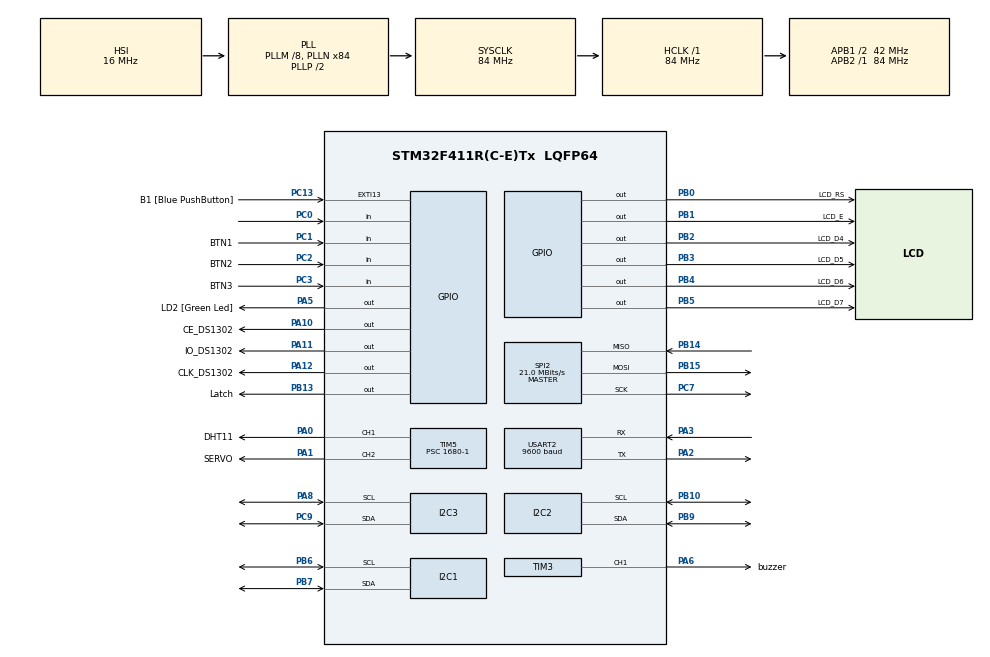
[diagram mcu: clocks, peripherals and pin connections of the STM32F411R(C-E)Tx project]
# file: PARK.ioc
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FREERTOS.Tasks01=defaultTask,24,128,StartDefaultTask,Default,NULL,Dynamic,NULL,NULL;myTask02,8,128,StartTask02,Default,NULL,Dynamic,NULL,NULL;myTask03,8,128,StartTask03,Default,NULL,Dynamic,NULL,NULL
FREERTOS.configUSE_NEWLIB_REENTRANT=1
Mcu.Family=STM32F4
Mcu.Name=STM32F411R(C-E)Tx
Mcu.Package=LQFP64
NVIC.PriorityGroup=NVIC_PRIORITYGROUP_4
NVIC.TIM1_TRG_COM_TIM11_IRQn=true\:5\:0\:false\:false\:true\:true\:true\:true
NVIC.TIM1_UP_TIM10_IRQn=true\:15\:0\:false\:false\:true\:false\:false\:true
NVIC.TIM3_IRQn=true\:5\:0\:false\:false\:true\:true\:true\:true
NVIC.TimeBase=TIM1_UP_TIM10_IRQn
NVIC.TimeBaseIP=TIM10
NVIC.USART2_IRQn=true\:5\:0\:false\:false\:true\:true\:true\:true
PA0-WKUP.GPIO_Label=DHT11
PA0-WKUP.Signal=S_TIM5_CH1
PA1.GPIO_Label=SERVO
PA1.Signal=S_TIM5_CH2
PA10.GPIO_Label=CE_DS1302
PA10.Signal=GPIO_Output
PA11.GPIO_Label=IO_DS1302
PA11.Signal=GPIO_Output
PA12.GPIO_Label=CLK_DS1302
PA12.Signal=GPIO_Output
PA13.GPIO_Label=TMS
PA13.Mode=Serial_Wire
PA13.Signal=SYS_JTMS-SWDIO
PA14.GPIO_Label=TCK
PA14.Mode=Serial_Wire
PA14.Signal=SYS_JTCK-SWCLK
PA2.GPIO_ModeDefaultPP=GPIO_MODE_AF_PP
PA2.GPIO_PuPd=GPIO_NOPULL
PA2.GPIO_Speed=GPIO_SPEED_FREQ_VERY_HIGH
PA2.Mode=Asynchronous
PA2.Signal=USART2_TX
PA3.GPIO_ModeDefaultPP=GPIO_MODE_AF_PP
PA3.GPIO_PuPd=GPIO_NOPULL
PA3.GPIO_Speed=GPIO_SPEED_FREQ_VERY_HIGH
PA3.Mode=Asynchronous
PA3.Signal=USART2_RX
PA5.GPIO_Label=LD2 [Green Led]
PA5.Signal=GPIO_Output
PA6.GPIO_Label=buzzer
PA6.Signal=S_TIM3_CH1
PA8.Mode=I2C
PA8.Signal=I2C3_SCL
PB0.GPIO_Label=LCD_RS
PB0.Signal=GPIO_Output
PB1.GPIO_Label=LCD_E
PB1.Signal=GPIO_Output
PB10.Mode=I2C
PB10.Signal=I2C2_SCL
PB13.GPIO_Label=Latch
PB13.Signal=GPIO_Output
PB14.Mode=Full_Duplex_Master
PB14.Signal=SPI2_MISO
PB15.Mode=Full_Duplex_Master
PB15.Signal=SPI2_MOSI
PB2.GPIO_Label=LCD_D4
PB2.Signal=GPIO_Output
PB3.GPIO_Label=LCD_D5
PB3.Signal=GPIO_Output
PB4.GPIO_Label=LCD_D6
PB4.Signal=GPIO_Output
PB5.GPIO_Label=LCD_D7
PB5.Signal=GPIO_Output
PB6.Mode=I2C
PB6.Signal=I2C1_SCL
PB7.Mode=I2C
PB7.Signal=I2C1_SDA
PB9.Mode=I2C
PB9.Signal=I2C2_SDA
PC0.Signal=GPIO_Input
PC1.GPIO_Label=BTN1
PC1.Signal=GPIO_Input
PC13-ANTI_TAMP.GPIO_Label=B1 [Blue PushButton]
PC13-ANTI_TAMP.GPIO_ModeDefaultEXTI=GPIO_MODE_IT_FALLING
PC13-ANTI_TAMP.Signal=GPXTI13
PC14-OSC32_IN.Mode=LSE-External-Oscillator
PC14-OSC32_IN.Signal=RCC_OSC32_IN
PC15-OSC32_OUT.Mode=LSE-External-Oscillator
PC15-OSC32_OUT.Signal=RCC_OSC32_OUT
PC2.GPIO_Label=BTN2
PC2.Signal=GPIO_Input
PC3.GPIO_Label=BTN3
PC3.Signal=GPIO_Input
PC7.Mode=Full_Duplex_Master
PC7.Signal=SPI2_SCK
PC9.Mode=I2C
PC9.Signal=I2C3_SDA
PH0\ -\ OSC_IN.Mode=HSE-External-Clock-Source
PH0\ -\ OSC_IN.Signal=RCC_OSC_IN
PH1\ -\ OSC_OUT.Mode=HSE-External-Clock-Source
PH1\ -\ OSC_OUT.Signal=RCC_OSC_OUT
ProjectManager.HeapSize=0x200
ProjectManager.StackSize=0x400
ProjectManager.TargetToolchain=STM32CubeIDE
RCC.48MHZClocksFreq_Value=42000000
RCC.AHBFreq_Value=84000000
RCC.APB1CLKDivider=RCC_HCLK_DIV2
RCC.APB1Freq_Value=42000000
RCC.APB1TimFreq_Value=84000000
RCC.APB2Freq_Value=84000000
RCC.APB2TimFreq_Value=84000000
RCC.CortexFreq_Value=84000000
RCC.FLatency-AdvancedSettings=FLASH_LATENCY_2
RCC.HCLKFreq_Value=84000000
RCC.HSE_VALUE=8000000
RCC.HSI_VALUE=16000000
RCC.PLLM=8
RCC.PLLN=84
RCC.SYSCLKFreq_VALUE=84000000
RCC.SYSCLKSource=RCC_SYSCLKSOURCE_PLLCLK
RCC.VCOOutputFreq_Value=168000000
SH.S_TIM3_CH1.0=TIM3_CH1,PWM Generation1 CH1
SH.S_TIM5_CH1.0=TIM5_CH1,PWM Generation1 CH1
SH.S_TIM5_CH2.0=TIM5_CH2,PWM Generation2 CH2
SPI2.CalculateBaudRate=21.0 MBits/s
SPI2.Direction=SPI_DIRECTION_2LINES
SPI2.Mode=SPI_MODE_MASTER
SPI2.VirtualType=VM_MASTER
TIM11.Period=1000-1
TIM11.Prescaler=84-1
TIM2.Prescaler=84-1
TIM3.Channel-PWM\ Generation1\ CH1=TIM_CHANNEL_1
TIM3.Period=400-1
TIM3.Prescaler=52.5-1
TIM3.Pulse-PWM\ Generation1\ CH1=200-1
TIM5.Channel-PWM\ Generation1\ CH1=TIM_CHANNEL_1
TIM5.Channel-PWM\ Generation2\ CH2=TIM_CHANNEL_2
TIM5.Period=1000-1
TIM5.Prescaler=1680-1
USART2.BaudRate=9600
USART2.VirtualMode=VM_ASYNC
VP_FREERTOS_VS_CMSIS_V2.Mode=CMSIS_V2
VP_SYS_VS_tim10.Mode=TIM10
VP_TIM11_VS_ClockSourceINT.Mode=Enable_Timer
VP_TIM2_VS_ClockSourceINT.Mode=Internal
VP_TIM3_VS_ClockSourceINT.Mode=Internal
board=NUCLEO-F411RE

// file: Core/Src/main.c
/* USER CODE BEGIN Header */
/**
  ******************************************************************************
  * @file           : main.c
  * @brief          : Main program body
  ******************************************************************************
  * @attention
  *
  * <h2><center>&copy; Copyright (c) 2025 STMicroelectronics.
  * All rights reserved.</center></h2>
  *
  * This software component is licensed by ST under BSD 3-Clause license,
  * the "License"; You may not use this file except in compliance with the
  * License. You may obtain a copy of the License at:
  *                        opensource.org/licenses/BSD-3-Clause
  *
  ******************************************************************************
  */
/* USER CODE END Header */
#include "main.h"
#include "cmsis_os.h"

/* USER CODE BEGIN Includes */
#include "extern.h"
/* USER CODE END Includes */

I2C_HandleTypeDef hi2c1;
I2C_HandleTypeDef hi2c2;
I2C_HandleTypeDef hi2c3;

SPI_HandleTypeDef hspi2;

TIM_HandleTypeDef htim2;
TIM_HandleTypeDef htim3;
TIM_HandleTypeDef htim5;
TIM_HandleTypeDef htim11;

UART_HandleTypeDef huart2;

/* Definitions for defaultTask */
osThreadId_t defaultTaskHandle;
const osThreadAttr_t defaultTask_attributes = {
  .name = "defaultTask",
  .stack_size = 128 * 4,
  .priority = (osPriority_t) osPriorityNormal,
};
/* Definitions for myTask02 */
osThreadId_t myTask02Handle;
const osThreadAttr_t myTask02_attributes = {
  .name = "myTask02",
  .stack_size = 128 * 4,
  .priority = (osPriority_t) osPriorityLow,
};
/* Definitions for myTask03 */
osThreadId_t myTask03Handle;
const osThreadAttr_t myTask03_attributes = {
  .name = "myTask03",
  .stack_size = 128 * 4,
  .priority = (osPriority_t) osPriorityLow,
};
/* USER CODE BEGIN PV */
uint8_t rx_data;	//uart2 rx byte
volatile int TIM11_1ms_counter=0;

/* USER CODE END PV */

void SystemClock_Config(void);
static void MX_GPIO_Init(void);
static void MX_USART2_UART_Init(void);
static void MX_TIM11_Init(void);
static void MX_TIM2_Init(void);
static void MX_I2C1_Init(void);
static void MX_TIM3_Init(void);
static void MX_TIM5_Init(void);
static void MX_SPI2_Init(void);
static void MX_I2C3_Init(void);
static void MX_I2C2_Init(void);
void StartDefaultTask(void *argument);
void StartTask02(void *argument);
void StartTask03(void *argument);

/* USER CODE BEGIN 0 */
#ifdef __GNUC__    // Add for printf
/* With GCC, small printf (option LD Linker->Libraries->Small printf
   set to 'Yes') calls __io_putchar() */
#define PUTCHAR_PROTOTYPE int __io_putchar(int ch)
#else
#define PUTCHAR_PROTOTYPE int fputc(int ch, FILE *f)
#endif /* __GNUC__ */
/**
  * @brief  Retargets the C library printf function to the USART.
  * @param  None
  * @retval None
  */
PUTCHAR_PROTOTYPE   // Add for printf
{
  /* Place your implementation of fputc here */
  /* e.g. write a character to the USART3 and Loop until the end of transmission */
  HAL_UART_Transmit(&huart2, (uint8_t *)&ch, 1, 0xFFFF);

  return ch;
}
/* USER CODE END 0 */

int main(void)
{

  /* MCU Configuration--------------------------------------------------------*/

  /* Reset of all peripherals, Initializes the Flash interface and the Systick. */
  HAL_Init();

  /* Configure the system clock */
  SystemClock_Config();

  /* Initialize all configured peripherals */
  MX_GPIO_Init();
  MX_USART2_UART_Init();
  MX_TIM11_Init();
  MX_TIM2_Init();
  MX_I2C1_Init();
  MX_TIM3_Init();
  MX_TIM5_Init();
  MX_SPI2_Init();
  MX_I2C3_Init();
  MX_I2C2_Init();
  /* USER CODE BEGIN 2 */
  HAL_UART_Receive_IT(&huart2, &rx_data, 1);
  HAL_TIM_Base_Start_IT(&htim11);
  HAL_TIM_Base_Start_IT(&htim2);	// for make delay_us
//  ds1302_main();
//  buzzer_main();
  //servo_motor_main();
  //i2c_lcd_main();
  //led_main();
  //dht11_main();
  //dotmatrix_main_func();
  //dotmatrix_main_test();
  bmp_main();
  /* USER CODE END 2 */

  /* Init scheduler */
  osKernelInitialize();

  /* Create the thread(s) */
  /* creation of defaultTask */
  defaultTaskHandle = osThreadNew(StartDefaultTask, NULL, &defaultTask_attributes);

  /* creation of myTask02 */
  myTask02Handle = osThreadNew(StartTask02, NULL, &myTask02_attributes);

  /* creation of myTask03 */
  myTask03Handle = osThreadNew(StartTask03, NULL, &myTask03_attributes);

  /* Start scheduler */
  osKernelStart();

  /* We should never get here as control is now taken by the scheduler */
  /* Infinite loop */
  /* USER CODE BEGIN WHILE */
  while (1)
  {

//	  button_led_toggle_test();
//	  HAL_GPIO_TogglePin(GPIOA, GPIO_PIN_5);
//	  HAL_Delay(500);
//	  HAL_GPIO_WritePin(GPIOB, 0Xff, 1);
//	  HAL_Delay(500);
//	  HAL_GPIO_WritePin(GPIOB, 0Xff, 0);
//	  HAL_Delay(500);
    /* USER CODE END WHILE */

  }
}

void SystemClock_Config(void)
{
  RCC_OscInitTypeDef RCC_OscInitStruct = {0};
  RCC_ClkInitTypeDef RCC_ClkInitStruct = {0};

  /** Configure the main internal regulator output voltage
  */
  __HAL_RCC_PWR_CLK_ENABLE();
  __HAL_PWR_VOLTAGESCALING_CONFIG(PWR_REGULATOR_VOLTAGE_SCALE1);
  /** Initializes the RCC Oscillators according to the specified parameters
  * in the RCC_OscInitTypeDef structure.
  */
  RCC_OscInitStruct.OscillatorType = RCC_OSCILLATORTYPE_HSI;
  RCC_OscInitStruct.HSIState = RCC_HSI_ON;
  RCC_OscInitStruct.HSICalibrationValue = RCC_HSICALIBRATION_DEFAULT;
  RCC_OscInitStruct.PLL.PLLState = RCC_PLL_ON;
  RCC_OscInitStruct.PLL.PLLSource = RCC_PLLSOURCE_HSI;
  RCC_OscInitStruct.PLL.PLLM = 8;
  RCC_OscInitStruct.PLL.PLLN = 84;
  RCC_OscInitStruct.PLL.PLLP = RCC_PLLP_DIV2;
  RCC_OscInitStruct.PLL.PLLQ = 4;
  if (HAL_RCC_OscConfig(&RCC_OscInitStruct) != HAL_OK)
  {
    Error_Handler();
  }
  /** Initializes the CPU, AHB and APB buses clocks
  */
  RCC_ClkInitStruct.ClockType = RCC_CLOCKTYPE_HCLK|RCC_CLOCKTYPE_SYSCLK
                              |RCC_CLOCKTYPE_PCLK1|RCC_CLOCKTYPE_PCLK2;
  RCC_ClkInitStruct.SYSCLKSource = RCC_SYSCLKSOURCE_PLLCLK;
  RCC_ClkInitStruct.AHBCLKDivider = RCC_SYSCLK_DIV1;
  RCC_ClkInitStruct.APB1CLKDivider = RCC_HCLK_DIV2;
  RCC_ClkInitStruct.APB2CLKDivider = RCC_HCLK_DIV1;

  if (HAL_RCC_ClockConfig(&RCC_ClkInitStruct, FLASH_LATENCY_2) != HAL_OK)
  {
    Error_Handler();
  }
}

static void MX_I2C1_Init(void)
{

  hi2c1.Instance = I2C1;
  hi2c1.Init.ClockSpeed = 100000;
  hi2c1.Init.DutyCycle = I2C_DUTYCYCLE_2;
  hi2c1.Init.OwnAddress1 = 0;
  hi2c1.Init.AddressingMode = I2C_ADDRESSINGMODE_7BIT;
  hi2c1.Init.DualAddressMode = I2C_DUALADDRESS_DISABLE;
  hi2c1.Init.OwnAddress2 = 0;
  hi2c1.Init.GeneralCallMode = I2C_GENERALCALL_DISABLE;
  hi2c1.Init.NoStretchMode = I2C_NOSTRETCH_DISABLE;
  if (HAL_I2C_Init(&hi2c1) != HAL_OK)
  {
    Error_Handler();
  }

}

static void MX_I2C2_Init(void)
{

  hi2c2.Instance = I2C2;
  hi2c2.Init.ClockSpeed = 100000;
  hi2c2.Init.DutyCycle = I2C_DUTYCYCLE_2;
  hi2c2.Init.OwnAddress1 = 0;
  hi2c2.Init.AddressingMode = I2C_ADDRESSINGMODE_7BIT;
  hi2c2.Init.DualAddressMode = I2C_DUALADDRESS_DISABLE;
  hi2c2.Init.OwnAddress2 = 0;
  hi2c2.Init.GeneralCallMode = I2C_GENERALCALL_DISABLE;
  hi2c2.Init.NoStretchMode = I2C_NOSTRETCH_DISABLE;
  if (HAL_I2C_Init(&hi2c2) != HAL_OK)
  {
    Error_Handler();
  }

}

static void MX_I2C3_Init(void)
{

  hi2c3.Instance = I2C3;
  hi2c3.Init.ClockSpeed = 100000;
  hi2c3.Init.DutyCycle = I2C_DUTYCYCLE_2;
  hi2c3.Init.OwnAddress1 = 0;
  hi2c3.Init.AddressingMode = I2C_ADDRESSINGMODE_7BIT;
  hi2c3.Init.DualAddressMode = I2C_DUALADDRESS_DISABLE;
  hi2c3.Init.OwnAddress2 = 0;
  hi2c3.Init.GeneralCallMode = I2C_GENERALCALL_DISABLE;
  hi2c3.Init.NoStretchMode = I2C_NOSTRETCH_DISABLE;
  if (HAL_I2C_Init(&hi2c3) != HAL_OK)
  {
    Error_Handler();
  }

}

static void MX_SPI2_Init(void)
{

  /* SPI2 parameter configuration*/
  hspi2.Instance = SPI2;
  hspi2.Init.Mode = SPI_MODE_MASTER;
  hspi2.Init.Direction = SPI_DIRECTION_2LINES;
  hspi2.Init.DataSize = SPI_DATASIZE_8BIT;
  hspi2.Init.CLKPolarity = SPI_POLARITY_LOW;
  hspi2.Init.CLKPhase = SPI_PHASE_1EDGE;
  hspi2.Init.NSS = SPI_NSS_SOFT;
  hspi2.Init.BaudRatePrescaler = SPI_BAUDRATEPRESCALER_2;
  hspi2.Init.FirstBit = SPI_FIRSTBIT_MSB;
  hspi2.Init.TIMode = SPI_TIMODE_DISABLE;
  hspi2.Init.CRCCalculation = SPI_CRCCALCULATION_DISABLE;
  hspi2.Init.CRCPolynomial = 10;
  if (HAL_SPI_Init(&hspi2) != HAL_OK)
  {
    Error_Handler();
  }

}

static void MX_TIM2_Init(void)
{

  TIM_ClockConfigTypeDef sClockSourceConfig = {0};
  TIM_MasterConfigTypeDef sMasterConfig = {0};

  htim2.Instance = TIM2;
  htim2.Init.Prescaler = 84-1;
  htim2.Init.CounterMode = TIM_COUNTERMODE_UP;
  htim2.Init.Period = 4294967295;
  htim2.Init.ClockDivision = TIM_CLOCKDIVISION_DIV1;
  htim2.Init.AutoReloadPreload = TIM_AUTORELOAD_PRELOAD_DISABLE;
  if (HAL_TIM_Base_Init(&htim2) != HAL_OK)
  {
    Error_Handler();
  }
  sClockSourceConfig.ClockSource = TIM_CLOCKSOURCE_INTERNAL;
  if (HAL_TIM_ConfigClockSource(&htim2, &sClockSourceConfig) != HAL_OK)
  {
    Error_Handler();
  }
  sMasterConfig.MasterOutputTrigger = TIM_TRGO_RESET;
  sMasterConfig.MasterSlaveMode = TIM_MASTERSLAVEMODE_DISABLE;
  if (HAL_TIMEx_MasterConfigSynchronization(&htim2, &sMasterConfig) != HAL_OK)
  {
    Error_Handler();
  }

}

static void MX_TIM3_Init(void)
{

  TIM_ClockConfigTypeDef sClockSourceConfig = {0};
  TIM_MasterConfigTypeDef sMasterConfig = {0};
  TIM_OC_InitTypeDef sConfigOC = {0};

  htim3.Instance = TIM3;
  htim3.Init.Prescaler = 52.5-1;
  htim3.Init.CounterMode = TIM_COUNTERMODE_UP;
  htim3.Init.Period = 400-1;
  htim3.Init.ClockDivision = TIM_CLOCKDIVISION_DIV1;
  htim3.Init.AutoReloadPreload = TIM_AUTORELOAD_PRELOAD_DISABLE;
  if (HAL_TIM_Base_Init(&htim3) != HAL_OK)
  {
    Error_Handler();
  }
  sClockSourceConfig.ClockSource = TIM_CLOCKSOURCE_INTERNAL;
  if (HAL_TIM_ConfigClockSource(&htim3, &sClockSourceConfig) != HAL_OK)
  {
    Error_Handler();
  }
  if (HAL_TIM_PWM_Init(&htim3) != HAL_OK)
  {
    Error_Handler();
  }
  sMasterConfig.MasterOutputTrigger = TIM_TRGO_RESET;
  sMasterConfig.MasterSlaveMode = TIM_MASTERSLAVEMODE_DISABLE;
  if (HAL_TIMEx_MasterConfigSynchronization(&htim3, &sMasterConfig) != HAL_OK)
  {
    Error_Handler();
  }
  sConfigOC.OCMode = TIM_OCMODE_PWM1;
  sConfigOC.Pulse = 200-1;
  sConfigOC.OCPolarity = TIM_OCPOLARITY_HIGH;
  sConfigOC.OCFastMode = TIM_OCFAST_DISABLE;
  if (HAL_TIM_PWM_ConfigChannel(&htim3, &sConfigOC, TIM_CHANNEL_1) != HAL_OK)
  {
    Error_Handler();
  }
  HAL_TIM_MspPostInit(&htim3);

}

static void MX_TIM5_Init(void)
{

  TIM_MasterConfigTypeDef sMasterConfig = {0};
  TIM_OC_InitTypeDef sConfigOC = {0};

  htim5.Instance = TIM5;
  htim5.Init.Prescaler = 1680-1;
  htim5.Init.CounterMode = TIM_COUNTERMODE_UP;
  htim5.Init.Period = 1000-1;
  htim5.Init.ClockDivision = TIM_CLOCKDIVISION_DIV1;
  htim5.Init.AutoReloadPreload = TIM_AUTORELOAD_PRELOAD_DISABLE;
  if (HAL_TIM_PWM_Init(&htim5) != HAL_OK)
  {
    Error_Handler();
  }
  sMasterConfig.MasterOutputTrigger = TIM_TRGO_RESET;
  sMasterConfig.MasterSlaveMode = TIM_MASTERSLAVEMODE_DISABLE;
  if (HAL_TIMEx_MasterConfigSynchronization(&htim5, &sMasterConfig) != HAL_OK)
  {
    Error_Handler();
  }
  sConfigOC.OCMode = TIM_OCMODE_PWM1;
  sConfigOC.Pulse = 0;
  sConfigOC.OCPolarity = TIM_OCPOLARITY_HIGH;
  sConfigOC.OCFastMode = TIM_OCFAST_DISABLE;
  if (HAL_TIM_PWM_ConfigChannel(&htim5, &sConfigOC, TIM_CHANNEL_1) != HAL_OK)
  {
    Error_Handler();
  }
  if (HAL_TIM_PWM_ConfigChannel(&htim5, &sConfigOC, TIM_CHANNEL_2) != HAL_OK)
  {
    Error_Handler();
  }
  HAL_TIM_MspPostInit(&htim5);

}

static void MX_TIM11_Init(void)
{

  htim11.Instance = TIM11;
  htim11.Init.Prescaler = 84-1;
  htim11.Init.CounterMode = TIM_COUNTERMODE_UP;
  htim11.Init.Period = 1000-1;
  htim11.Init.ClockDivision = TIM_CLOCKDIVISION_DIV1;
  htim11.Init.AutoReloadPreload = TIM_AUTORELOAD_PRELOAD_DISABLE;
  if (HAL_TIM_Base_Init(&htim11) != HAL_OK)
  {
    Error_Handler();
  }

}

static void MX_USART2_UART_Init(void)
{

  huart2.Instance = USART2;
  huart2.Init.BaudRate = 9600;
  huart2.Init.WordLength = UART_WORDLENGTH_8B;
  huart2.Init.StopBits = UART_STOPBITS_1;
  huart2.Init.Parity = UART_PARITY_NONE;
  huart2.Init.Mode = UART_MODE_TX_RX;
  huart2.Init.HwFlowCtl = UART_HWCONTROL_NONE;
  huart2.Init.OverSampling = UART_OVERSAMPLING_16;
  if (HAL_UART_Init(&huart2) != HAL_OK)
  {
    Error_Handler();
  }

}

static void MX_GPIO_Init(void)
{
  GPIO_InitTypeDef GPIO_InitStruct = {0};

  /* GPIO Ports Clock Enable */
  __HAL_RCC_GPIOC_CLK_ENABLE();
  __HAL_RCC_GPIOH_CLK_ENABLE();
  __HAL_RCC_GPIOA_CLK_ENABLE();
  __HAL_RCC_GPIOB_CLK_ENABLE();

  /*Configure GPIO pin Output Level */
  HAL_GPIO_WritePin(GPIOA, LD2_Pin|CE_DS1302_Pin|IO_DS1302_Pin|CLK_DS1302_Pin, GPIO_PIN_RESET);

  /*Configure GPIO pin Output Level */
  HAL_GPIO_WritePin(GPIOB, LCD_RS_Pin|LCD_E_Pin|LCD_D4_Pin|Latch_Pin
                          |LCD_D5_Pin|LCD_D6_Pin|LCD_D7_Pin, GPIO_PIN_RESET);

  /*Configure GPIO pin : B1_Pin */
  GPIO_InitStruct.Pin = B1_Pin;
  GPIO_InitStruct.Mode = GPIO_MODE_IT_FALLING;
  GPIO_InitStruct.Pull = GPIO_NOPULL;
  HAL_GPIO_Init(B1_GPIO_Port, &GPIO_InitStruct);

  /*Configure GPIO pins : PC0 BTN1_Pin BTN2_Pin BTN3_Pin */
  GPIO_InitStruct.Pin = GPIO_PIN_0|BTN1_Pin|BTN2_Pin|BTN3_Pin;
  GPIO_InitStruct.Mode = GPIO_MODE_INPUT;
  GPIO_InitStruct.Pull = GPIO_NOPULL;
  HAL_GPIO_Init(GPIOC, &GPIO_InitStruct);

  /*Configure GPIO pins : LD2_Pin CE_DS1302_Pin IO_DS1302_Pin CLK_DS1302_Pin */
  GPIO_InitStruct.Pin = LD2_Pin|CE_DS1302_Pin|IO_DS1302_Pin|CLK_DS1302_Pin;
  GPIO_InitStruct.Mode = GPIO_MODE_OUTPUT_PP;
  GPIO_InitStruct.Pull = GPIO_NOPULL;
  GPIO_InitStruct.Speed = GPIO_SPEED_FREQ_LOW;
  HAL_GPIO_Init(GPIOA, &GPIO_InitStruct);

  /*Configure GPIO pins : LCD_RS_Pin LCD_E_Pin LCD_D4_Pin Latch_Pin
                           LCD_D5_Pin LCD_D6_Pin LCD_D7_Pin */
  GPIO_InitStruct.Pin = LCD_RS_Pin|LCD_E_Pin|LCD_D4_Pin|Latch_Pin
                          |LCD_D5_Pin|LCD_D6_Pin|LCD_D7_Pin;
  GPIO_InitStruct.Mode = GPIO_MODE_OUTPUT_PP;
  GPIO_InitStruct.Pull = GPIO_NOPULL;
  GPIO_InitStruct.Speed = GPIO_SPEED_FREQ_LOW;
  HAL_GPIO_Init(GPIOB, &GPIO_InitStruct);

}

void StartDefaultTask(void *argument)
{
  /* USER CODE BEGIN 5 */
  /* Infinite loop */
  for(;;)
  {
	  HAL_GPIO_TogglePin(GPIOA, GPIO_PIN_5);
	  osDelay(50); //
  }
  /* USER CODE END 5 */
}

void StartTask02(void *argument)
{
  /* USER CODE BEGIN StartTask02 */
  /* Infinite loop */
  for(;;)
  {
	  button_led_toggle_test();
	  osDelay(1);
  }
  /* USER CODE END StartTask02 */
}

void StartTask03(void *argument)
{
  for(;;)
  {
    osDelay(1);
  }
}

void HAL_TIM_PeriodElapsedCallback(TIM_HandleTypeDef *htim)
{
  if (htim->Instance == TIM10) {
    HAL_IncTick();
  }
  /* USER CODE BEGIN Callback 1 */
  if (htim->Instance == TIM11) {
	  TIM11_1ms_counter++;
    }
  /* USER CODE END Callback 1 */
}

void Error_Handler(void)
{
  __disable_irq();
  while (1)
  {
  }
}

/************************ (C) COPYRIGHT STMicroelectronics *****END OF FILE****/
